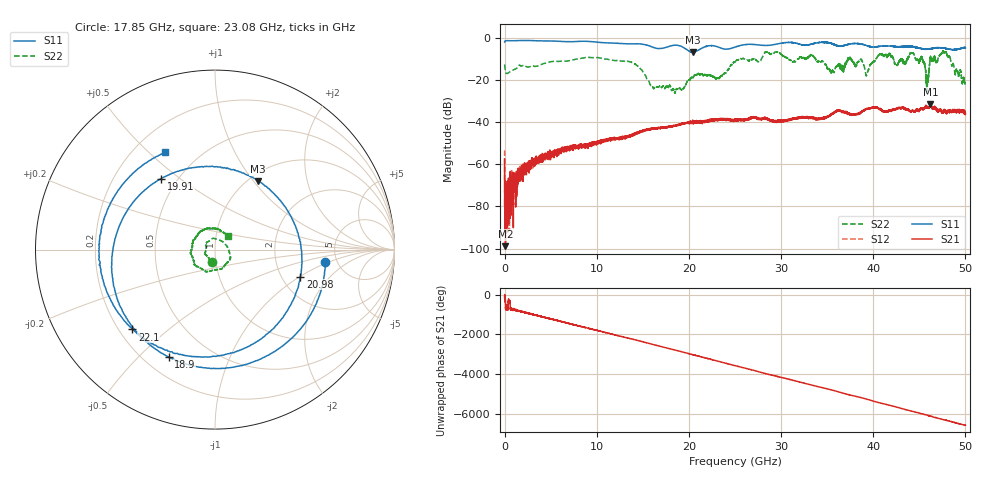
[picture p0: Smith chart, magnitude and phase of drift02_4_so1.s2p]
!Created with skrf (http://scikit-rf.org).
# Hz S RI R 50.0
!freq ReS11 ImS11 ReS21 ImS21 ReS12 ImS12 ReS22 ImS22
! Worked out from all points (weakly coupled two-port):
!   10001 points, 300 kHz to 50 GHz, reference 50 ohm
!   highest |S21| = -31.56 dB at 46.21 GHz (marker M1); lowest = -98.9 dB at 95.3 MHz (marker M2)
!   lowest |S11| = -6.9 dB at 20.41 GHz (marker M3), VSWR 2.64, Z = 55 + j52.7 ohm
!   |S11| at or under -10 dB: nowhere
!   |S22| runs from -26.3 to -6.3 dB; largest |S21 - S12| = 0.0035
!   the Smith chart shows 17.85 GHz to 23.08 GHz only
!   S11 on the Smith chart (normalised r, x): 17.85 GHz: 4.04, -0.90; 18.9 GHz: 0.30, -0.62; 19.91 GHz: 0.41, +0.43; 20.98 GHz: 2.53, -1.01; 22.1 GHz: 0.25, -0.38; 23.08 GHz: 0.32, +0.56
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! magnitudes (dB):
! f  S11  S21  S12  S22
! 300 kHz  -2.1  -57.6  -53.4  -12.7
! 95.3 MHz  -1.5  -98.9  -78.0  -16.2
! 270.3 MHz  -1.4  -79.6  -71.2  -17.0
! 2.825 GHz  -1.4  -60.8  -59.4  -13.7
! 8.335 GHz  -1.7  -52.2  -51.8  -9.8
! 13.7 GHz  -2.9  -46.8  -46.0  -11.6
! 16.67 GHz  -5.2  -42.8  -42.8  -23.4
! 17.85 GHz  -4.2  -42.2  -42.3  -23.1
! 18.9 GHz  -3.7  -41.5  -41.2  -24.4
! 19.91 GHz  -6.1  -40.3  -40.3  -20.0
! 20.41 GHz  -6.9  -40.0  -39.6  -19.0
! 20.98 GHz  -6.0  -39.8  -39.9  -16.9
! 22.1 GHz  -3.9  -39.4  -39.3  -17.7
! 23.08 GHz  -4.3  -38.8  -38.5  -19.3
! 25 GHz  -4.5  -39.2  -38.8  -11.4
! 33.34 GHz  -3.1  -37.9  -38.0  -8.3
! 39.31 GHz  -3.8  -33.8  -33.8  -17.4
! 41.67 GHz  -4.0  -34.6  -34.8  -7.9
! 45.84 GHz  -5.5  -32.9  -32.9  -21.4
! 46.21 GHz  -5.3  -31.6  -32.0  -10.1
! 47.76 GHz  -5.0  -34.4  -34.3  -6.8
! 50 GHz  -4.8  -36.4  -35.6  -20.7
